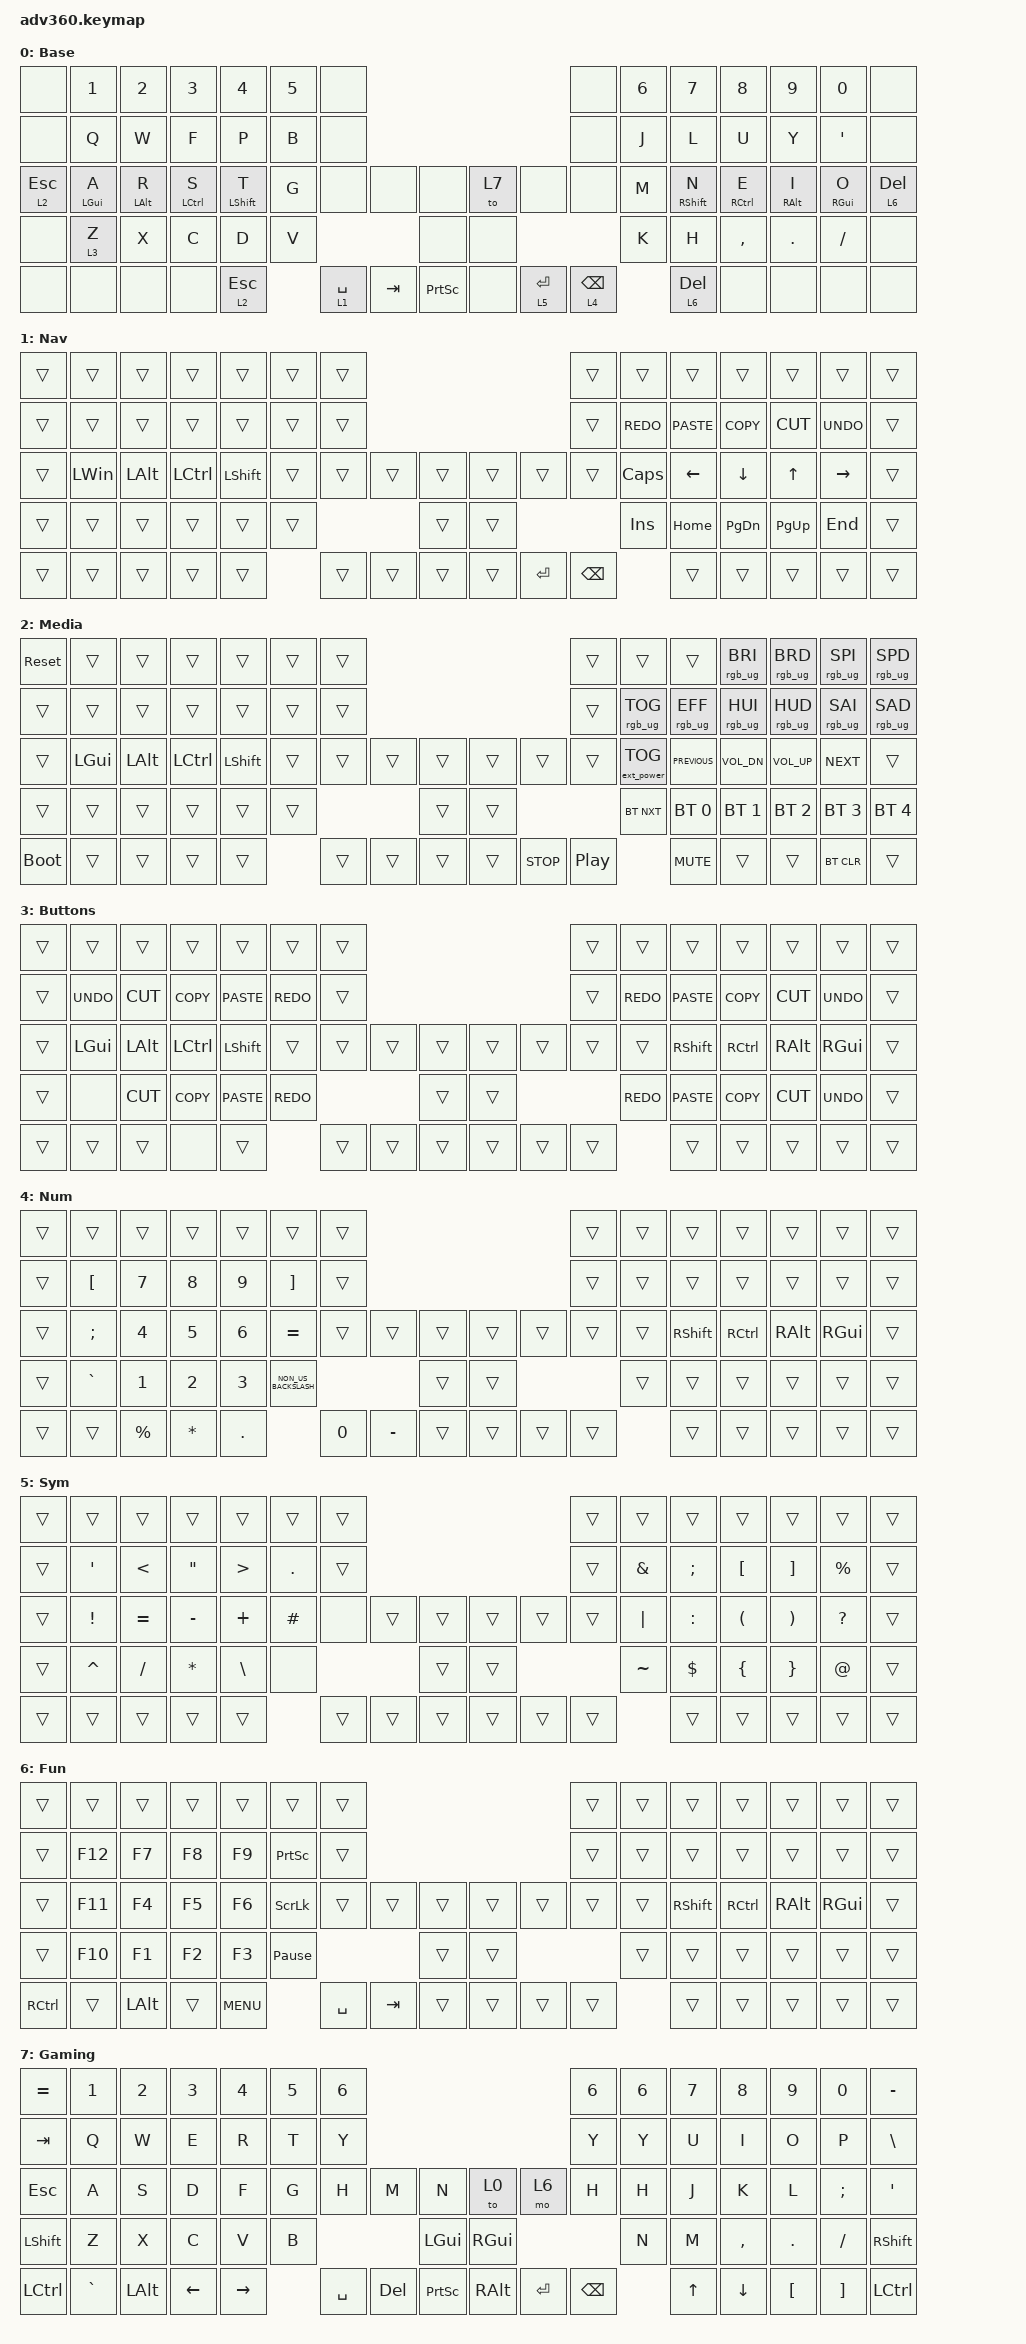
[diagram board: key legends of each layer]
#include <behaviors.dtsi>
#include <dt-bindings/zmk/bt.h>
#include <dt-bindings/zmk/ext_power.h>
#include <dt-bindings/zmk/keys.h>
#include <dt-bindings/zmk/rgb.h>

/ {
    behaviors {
        #include "macros.dtsi"
      #include "version.dtsi"
      #ifndef VERSION_MACRO

        macro_ver: macro_ver {
            compatible = "zmk,behavior-macro";
            label = "macro_version";
            #binding-cells = <0>;
            bindings = <&kp RET>;
        };

        #endif

        hm: homerow_mods {
            compatible = "zmk,behavior-hold-tap";
            label = "HOMEROW_MODS";
            #binding-cells = <2>;
            tapping-term-ms = <200>;
            quick_tap_ms = <175>;
            flavor = "tap-preferred";
            bindings = <&kp>, <&kp>;
        };
    };

    macros {
    };

    keymap {
        compatible = "zmk,keymap";

        Base {
            bindings = <
&none         &kp NUMBER_1    &kp N2          &kp N3       &kp N4        &kp N5  &none                                                          &none            &kp N6  &kp N7       &kp N8       &kp N9           &kp N0      &none
&none         &kp Q           &kp W           &kp F        &kp P         &kp B   &none                                                          &none            &kp J   &kp L        &kp U        &kp Y            &kp APOS    &none
&lt 2 ESCAPE  &hm LEFT_GUI A  &hm LEFT_ALT R  &hm LCTRL S  &hm LSHFT T   &kp G   &none        &none    &none                &to 7  &none        &none            &kp M   &hm RSHFT N  &hm RCTRL E  &hm RIGHT_ALT I  &hm RGUI O  &lt 6 DEL
&none         &lt 3 Z         &kp X           &kp C        &kp D         &kp V                         &none                &none                                &kp K   &kp H        &kp COMMA    &kp DOT          &kp FSLH    &none
&none         &none           &none           &none        &lt 2 ESCAPE          &lt 1 SPACE  &kp TAB  &kp PRINTSCREEN      &none  &lt 5 ENTER  &lt 4 BACKSPACE          &lt 6 DEL    &none        &none            &none       &none
            >;
        };

        Nav {
            bindings = <
&trans  &trans        &trans        &trans     &trans          &trans  &trans                                         &trans         &trans      &trans          &trans          &trans        &trans           &trans
&trans  &trans        &trans        &trans     &trans          &trans  &trans                                         &trans         &kp K_REDO  &kp K_PASTE     &kp K_COPY      &kp K_CUT     &kp K_UNDO       &trans
&trans  &kp LEFT_WIN  &kp LEFT_ALT  &kp LCTRL  &kp LEFT_SHIFT  &trans  &trans  &trans  &trans      &trans  &trans     &trans         &kp CAPS    &kp LEFT_ARROW  &kp DOWN_ARROW  &kp UP_ARROW  &kp RIGHT_ARROW  &trans
&trans  &trans        &trans        &trans     &trans          &trans                  &trans      &trans                            &kp INS     &kp HOME        &kp PAGE_DOWN   &kp PG_UP     &kp END          &trans
&trans  &trans        &trans        &trans     &trans                  &trans  &trans  &trans      &trans  &kp ENTER  &kp BACKSPACE              &trans          &trans          &trans        &trans           &trans
            >;
        };

        Media {
            bindings = <
&sys_reset   &trans        &trans        &trans     &trans     &trans  &trans                                          &trans            &trans             &trans           &rgb_ug RGB_BRI  &rgb_ug RGB_BRD  &rgb_ug RGB_SPI  &rgb_ug RGB_SPD
&trans       &trans        &trans        &trans     &trans     &trans  &trans                                          &trans            &rgb_ug RGB_TOG    &rgb_ug RGB_EFF  &rgb_ug RGB_HUI  &rgb_ug RGB_HUD  &rgb_ug RGB_SAI  &rgb_ug RGB_SAD
&trans       &kp LEFT_GUI  &kp LEFT_ALT  &kp LCTRL  &kp LSHFT  &trans  &trans  &trans  &trans      &trans  &trans      &trans            &ext_power EP_TOG  &kp C_PREVIOUS   &kp C_VOL_DN     &kp C_VOLUME_UP  &kp C_NEXT       &trans
&trans       &trans        &trans        &trans     &trans     &trans                  &trans      &trans                                &bt BT_NXT         &bt BT_SEL 0     &bt BT_SEL 1     &bt BT_SEL 2     &bt BT_SEL 3     &bt BT_SEL 4
&bootloader  &trans        &trans        &trans     &trans             &trans  &trans  &trans      &trans  &kp C_STOP  &kp C_PLAY_PAUSE                     &kp K_MUTE       &trans           &trans           &bt BT_CLR       &trans
            >;
        };

        Buttons {
            bindings = <
&trans  &trans      &trans     &trans      &trans       &trans      &trans                                      &trans  &trans      &trans       &trans      &trans     &trans      &trans
&trans  &kp K_UNDO  &kp K_CUT  &kp K_COPY  &kp K_PASTE  &kp K_REDO  &trans                                      &trans  &kp K_REDO  &kp K_PASTE  &kp K_COPY  &kp K_CUT  &kp K_UNDO  &trans
&trans  &kp LGUI    &kp LALT   &kp LCTRL   &kp LSHFT    &trans      &trans  &trans  &trans      &trans  &trans  &trans  &trans      &kp RSHFT    &kp RCTRL   &kp RALT   &kp RGUI    &trans
&trans  &none       &kp K_CUT  &kp K_COPY  &kp K_PASTE  &kp K_REDO                  &trans      &trans                  &kp K_REDO  &kp K_PASTE  &kp K_COPY  &kp K_CUT  &kp K_UNDO  &trans
&trans  &trans      &trans     &none       &trans                   &trans  &trans  &trans      &trans  &trans  &trans              &trans       &trans      &trans     &trans      &trans
            >;
        };

        Num {
            bindings = <
&trans  &trans            &trans        &trans        &trans        &trans                &trans                                         &trans  &trans  &trans           &trans     &trans         &trans    &trans
&trans  &kp LEFT_BRACKET  &kp N7        &kp N8        &kp N9        &kp RIGHT_BRACKET     &trans                                         &trans  &trans  &trans           &trans     &trans         &trans    &trans
&trans  &kp SEMICOLON     &kp N4        &kp N5        &kp N6        &kp EQUAL             &trans  &trans     &trans      &trans  &trans  &trans  &trans  &kp RIGHT_SHIFT  &kp RCTRL  &kp RIGHT_ALT  &kp RGUI  &trans
&trans  &kp GRAVE         &kp NUMBER_1  &kp NUMBER_2  &kp NUMBER_3  &kp NON_US_BACKSLASH                     &trans      &trans                  &trans  &trans           &trans     &trans         &trans    &trans
&trans  &trans            &kp PERCENT   &kp ASTERISK  &kp PERIOD                          &kp N0  &kp MINUS  &trans      &trans  &trans  &trans          &trans           &trans     &trans         &trans    &trans
            >;
        };

        Sym {
            bindings = <
&trans  &trans           &trans         &trans             &trans            &trans      &trans                                      &trans  &trans         &trans         &trans            &trans    &trans        &trans
&trans  &kp SQT          &kp LESS_THAN  &kp DOUBLE_QUOTES  &kp GREATER_THAN  &kp PERIOD  &trans                                      &trans  &kp AMPERSAND  &kp SEMICOLON  &kp LEFT_BRACKET  &kp RBKT  &kp PERCENT   &trans
&trans  &kp EXCLAMATION  &kp EQUAL      &kp MINUS          &kp PLUS          &kp HASH    &none   &trans  &trans      &trans  &trans  &trans  &kp PIPE       &kp COLON      &kp LPAR          &kp RPAR  &kp QUESTION  &trans
&trans  &kp CARET        &kp FSLH       &kp ASTERISK       &kp BSLH          &none                       &trans      &trans                  &kp TILDE      &kp DOLLAR     &kp LBRC          &kp RBRC  &kp AT_SIGN   &trans
&trans  &trans           &trans         &trans             &trans                        &trans  &trans  &trans      &trans  &trans  &trans                 &trans         &trans            &trans    &trans        &trans
            >;
        };

        Fun {
            bindings = <
&trans     &trans   &trans        &trans  &trans      &trans           &trans                                          &trans  &trans  &trans     &trans     &trans    &trans    &trans
&trans     &kp F12  &kp F7        &kp F8  &kp F9      &kp PSCRN        &trans                                          &trans  &trans  &trans     &trans     &trans    &trans    &trans
&trans     &kp F11  &kp F4        &kp F5  &kp F6      &kp SCROLLLOCK   &trans     &trans   &trans      &trans  &trans  &trans  &trans  &kp RSHFT  &kp RCTRL  &kp RALT  &kp RGUI  &trans
&trans     &kp F10  &kp F1        &kp F2  &kp F3      &kp PAUSE_BREAK                      &trans      &trans                  &trans  &trans     &trans     &trans    &trans    &trans
&kp RCTRL  &trans   &kp LEFT_ALT  &trans  &kp K_MENU                   &kp SPACE  &kp TAB  &trans      &trans  &trans  &trans          &trans     &trans     &trans    &trans    &trans
            >;
        };

        Gaming {
            bindings = <
&kp EQUAL   &kp N1     &kp N2    &kp N3    &kp N4     &kp N5  &kp N6                                                           &kp N6         &kp N6  &kp N7        &kp N8          &kp N9    &kp N0    &kp MINUS
&kp TAB     &kp Q      &kp W     &kp E     &kp R      &kp T   &kp Y                                                            &kp Y          &kp Y   &kp U         &kp I           &kp O     &kp P     &kp BSLH
&kp ESCAPE  &kp A      &kp S     &kp D     &kp F      &kp G   &kp H      &kp M       &kp N                &to 0     &mo 6      &kp H          &kp H   &kp J         &kp K           &kp L     &kp SEMI  &kp SQT
&kp LSHFT   &kp Z      &kp X     &kp C     &kp V      &kp B                          &kp LGUI             &kp RGUI                            &kp N   &kp M         &kp COMMA       &kp DOT   &kp FSLH  &kp RSHFT
&kp LCTRL   &kp GRAVE  &kp LALT  &kp LEFT  &kp RIGHT          &kp SPACE  &kp DELETE  &kp PRINTSCREEN      &kp RALT  &kp ENTER  &kp BACKSPACE          &kp UP_ARROW  &kp DOWN_ARROW  &kp LBKT  &kp RBKT  &kp LEFT_CONTROL
            >;
        };
    };
};
